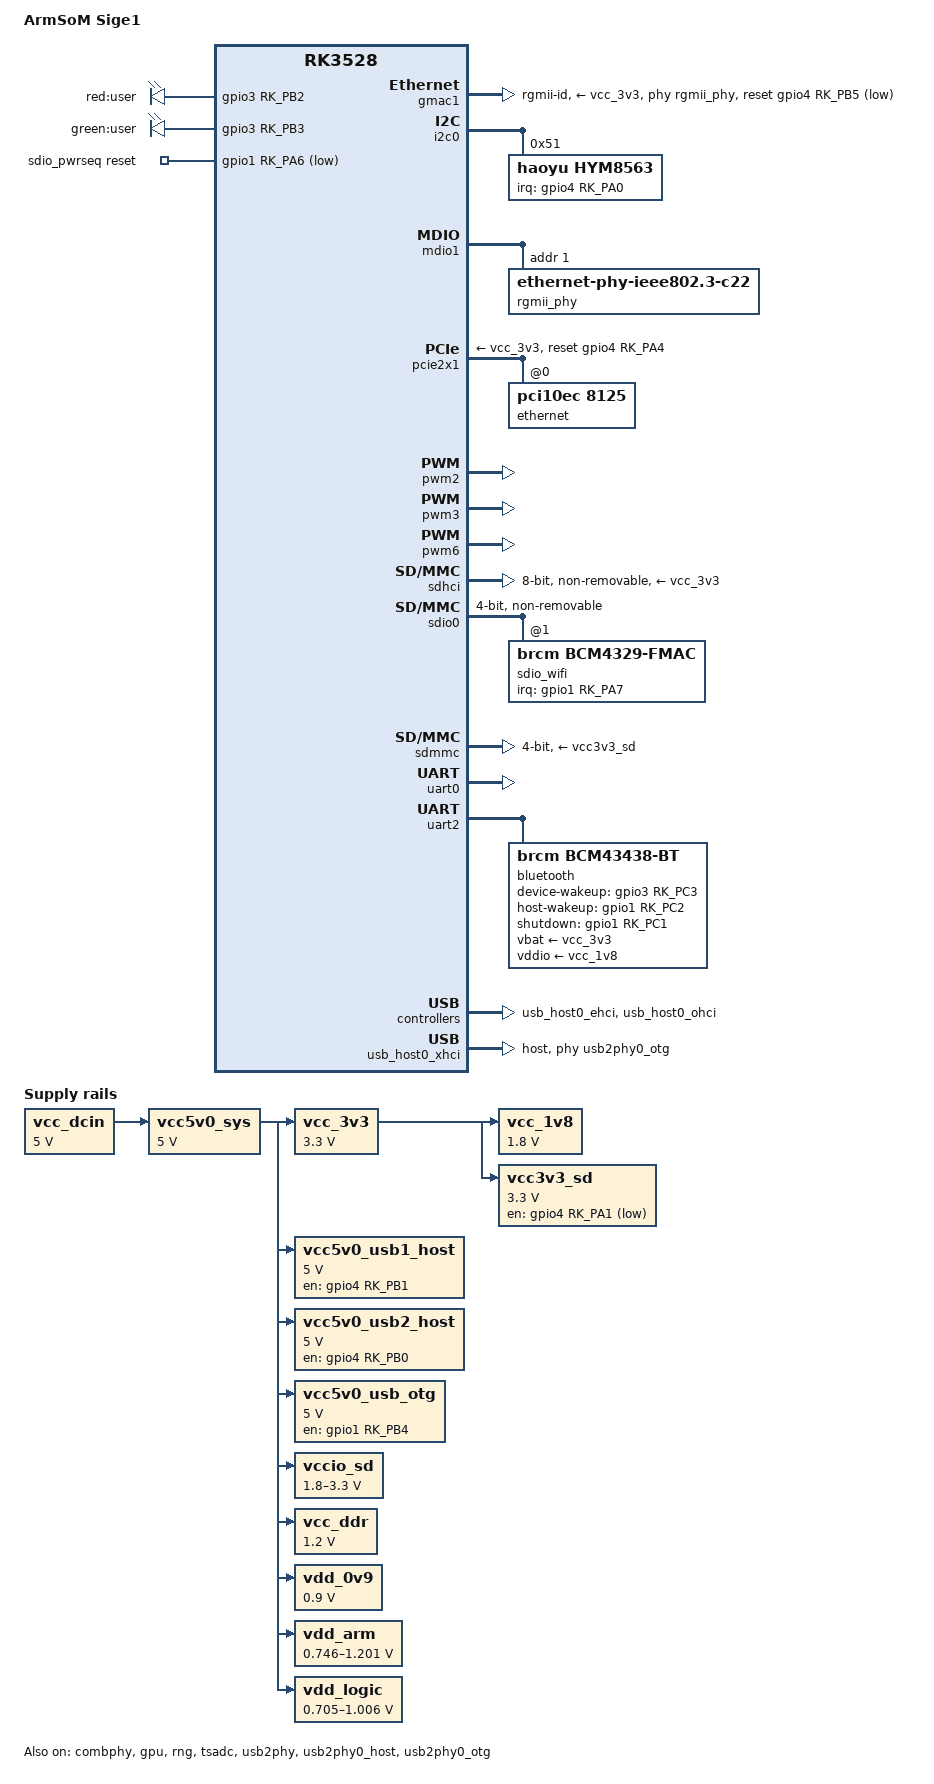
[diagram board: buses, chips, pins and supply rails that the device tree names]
// SPDX-License-Identifier: (GPL-2.0+ OR MIT)
// Copyright (c) 2024 AY <amadeus@jmu.edu.cn>

/dts-v1/;
#include <dt-bindings/gpio/gpio.h>
#include <dt-bindings/pinctrl/rockchip.h>

#include "rk3528.dtsi"

/ {
	model = "ArmSoM Sige1";
	compatible = "armsom,sige1", "rockchip,rk3528";

	aliases {
		mmc0 = &sdhci;
		mmc1 = &sdmmc;
		mmc2 = &sdio0;
		ethernet0 = &gmac1;

		led-boot = &led_red;
		led-failsafe = &led_red;
		led-running = &led_red;
		led-upgrade = &led_red;
	};

	chosen {
		stdout-path = "serial0:1500000n8";
	};

	leds {
		compatible = "gpio-leds";
		pinctrl-names = "default";
		pinctrl-0 = <&user1_led_en>, <&user2_led_en>;

		led_red: user1 {
			label = "red:user";
			gpios = <&gpio3 RK_PB2 GPIO_ACTIVE_HIGH>;
		};

		user2 {
			label = "green:user";
			gpios = <&gpio3 RK_PB3 GPIO_ACTIVE_HIGH>;
		};
	};

	sdio_pwrseq: sdio-pwrseq {
		compatible = "mmc-pwrseq-simple";
		pinctrl-names = "default";
		pinctrl-0 = <&wifi_enable_h &clkm1_32k_out>;
		reset-gpios = <&gpio1 RK_PA6 GPIO_ACTIVE_LOW>;
	};

	vcc_dcin: vcc-dcin {
		compatible = "regulator-fixed";
		regulator-name = "vcc_dcin";
		regulator-always-on;
		regulator-boot-on;
		regulator-min-microvolt = <5000000>;
		regulator-max-microvolt = <5000000>;
	};

	vcc_1v8: vcc-1v8 {
		compatible = "regulator-fixed";
		regulator-name = "vcc_1v8";
		regulator-always-on;
		regulator-boot-on;
		regulator-min-microvolt = <1800000>;
		regulator-max-microvolt = <1800000>;
		vin-supply = <&vcc_3v3>;
	};

	vcc_3v3: vcc-3v3 {
		compatible = "regulator-fixed";
		regulator-name = "vcc_3v3";
		regulator-always-on;
		regulator-boot-on;
		regulator-min-microvolt = <3300000>;
		regulator-max-microvolt = <3300000>;
		vin-supply = <&vcc5v0_sys>;
	};

	vcc3v3_sd: vcc3v3-sd {
		compatible = "regulator-fixed";
		gpio = <&gpio4 RK_PA1 GPIO_ACTIVE_LOW>;
		regulator-name = "vcc3v3_sd";
		regulator-always-on;
		regulator-boot-on;
		regulator-min-microvolt = <3300000>;
		regulator-max-microvolt = <3300000>;
		vin-supply = <&vcc_3v3>;
	};

	vcc5v0_sys: vcc5v0-sys {
		compatible = "regulator-fixed";
		regulator-name = "vcc5v0_sys";
		regulator-always-on;
		regulator-boot-on;
		regulator-min-microvolt = <5000000>;
		regulator-max-microvolt = <5000000>;
		vin-supply = <&vcc_dcin>;
	};

	vcc5v0_usb1_host: vcc5v0-usb1-host {
		compatible = "regulator-fixed";
		enable-active-high;
		gpio = <&gpio4 RK_PB1 GPIO_ACTIVE_HIGH>;
		pinctrl-names = "default";
		pinctrl-0 = <&vcc5v0_usb1_host_en>;
		regulator-name = "vcc5v0_usb1_host";
		regulator-min-microvolt = <5000000>;
		regulator-max-microvolt = <5000000>;
		regulator-always-on;
		vin-supply = <&vcc5v0_sys>;
	};

	vcc5v0_usb2_host: vcc5v0-usb2-host {
		compatible = "regulator-fixed";
		enable-active-high;
		gpio = <&gpio4 RK_PB0 GPIO_ACTIVE_HIGH>;
		pinctrl-names = "default";
		pinctrl-0 = <&vcc5v0_usb2_host_en>;
		regulator-name = "vcc5v0_usb2_host";
		regulator-min-microvolt = <5000000>;
		regulator-max-microvolt = <5000000>;
		regulator-always-on;
		vin-supply = <&vcc5v0_sys>;
	};

	vcc5v0_usb_otg: vcc5v0-usb-otg {
		compatible = "regulator-fixed";
		enable-active-high;
		gpio = <&gpio1 RK_PB4 GPIO_ACTIVE_HIGH>;
		pinctrl-names = "default";
		pinctrl-0 = <&vcc5v0_usb_otg_en>;
		regulator-name = "vcc5v0_usb_otg";
		regulator-min-microvolt = <5000000>;
		regulator-max-microvolt = <5000000>;
		vin-supply = <&vcc5v0_sys>;
	};

	vccio_sd: vccio-sd {
		compatible = "regulator-gpio";
		gpios = <&gpio4 RK_PC2 GPIO_ACTIVE_HIGH>;
		regulator-name = "vccio_sd";
		regulator-min-microvolt = <1800000>;
		regulator-max-microvolt = <3300000>;
		states = <1800000 0x0>, <3300000 0x1>;
		vin-supply = <&vcc5v0_sys>;
	};

	vcc_ddr: vcc-ddr {
		compatible = "regulator-fixed";
		regulator-name = "vcc_ddr";
		regulator-always-on;
		regulator-boot-on;
		regulator-min-microvolt = <1200000>;
		regulator-max-microvolt = <1200000>;
		vin-supply = <&vcc5v0_sys>;
	};

	vdd_0v9: vdd-0v9 {
		compatible = "regulator-fixed";
		regulator-name = "vdd_0v9";
		regulator-always-on;
		regulator-boot-on;
		regulator-min-microvolt = <900000>;
		regulator-max-microvolt = <900000>;
		vin-supply = <&vcc5v0_sys>;
	};

	vdd_arm: vdd-arm {
		compatible = "pwm-regulator";
		pwms = <&pwm3 0 5000 1>;
		pwm-supply = <&vcc5v0_sys>;
		regulator-name = "vdd_arm";
		regulator-always-on;
		regulator-boot-on;
		regulator-min-microvolt = <746000>;
		regulator-max-microvolt = <1201000>;
		regulator-settling-time-up-us = <250>;
	};

	vdd_logic: vdd-logic {
		compatible = "pwm-regulator";
		pwms = <&pwm2 0 5000 1>;
		pwm-supply = <&vcc5v0_sys>;
		regulator-name = "vdd_logic";
		regulator-always-on;
		regulator-boot-on;
		regulator-min-microvolt = <705000>;
		regulator-max-microvolt = <1006000>;
		regulator-settling-time-up-us = <250>;
	};
};

&combphy {
	status = "okay";
};

&cpu0 {
	cpu-supply = <&vdd_arm>;
};

&cpu1 {
	cpu-supply = <&vdd_arm>;
};

&cpu2 {
	cpu-supply = <&vdd_arm>;
};

&cpu3 {
	cpu-supply = <&vdd_arm>;
};

&gmac1 {
	clock_in_out = "output";
	pinctrl-names = "default";
	pinctrl-0 = <&rgmii_miim
		     &rgmii_tx_bus2
		     &rgmii_rx_bus2
		     &rgmii_rgmii_clk
		     &rgmii_rgmii_bus>;
	phy-handle = <&rgmii_phy>;
	phy-mode = "rgmii-id";
	phy-supply = <&vcc_3v3>;
	snps,reset-active-low;
	snps,reset-delays-us = <0 20000 100000>;
	snps,reset-gpio = <&gpio4 RK_PB5 GPIO_ACTIVE_LOW>;
	status = "okay";
};

&gpu {
	mali-supply = <&vdd_logic>;
	status = "okay";
};

&i2c0 {
	status = "okay";

	hym8563: rtc@51 {
		compatible = "haoyu,hym8563";
		reg = <0x51>;
		interrupt-parent = <&gpio4>;
		interrupts = <RK_PA0 IRQ_TYPE_LEVEL_LOW>;
		pinctrl-names = "default";
		pinctrl-0 = <&rtc_int_l>;
	};
};

&mdio1 {
	rgmii_phy: phy@1 {
		compatible = "ethernet-phy-ieee802.3-c22";
		reg = <0x1>;
		realtek,led-data = <0x2c1b>;
	};
};

&pcie2x1 {
	reset-gpios = <&gpio4 RK_PA4 GPIO_ACTIVE_HIGH>;
	vpcie3v3-supply = <&vcc_3v3>;
	status = "okay";

	bridge@0,0 {
		reg = <0x00000000 0 0 0 0>;
		#address-cells = <3>;
		#size-cells = <2>;
		ranges;

		ethernet@0,0 {
			compatible = "pci10ec,8125";
			reg = <0x000000 0 0 0 0>;
			led-data = <0x23f 0x3f 0 0>;
		};
	};
};

&pinctrl {
	leds {
		user1_led_en: user1-led-en {
			rockchip,pins = <3 RK_PB2 RK_FUNC_GPIO &pcfg_pull_none>;
		};

		user2_led_en: user2-led-en {
			rockchip,pins = <3 RK_PB3 RK_FUNC_GPIO &pcfg_pull_none>;
		};
	};

	usb {
		vcc5v0_usb1_host_en: vcc5v0-usb1-host-en {
			rockchip,pins = <4 RK_PB1 RK_FUNC_GPIO &pcfg_pull_none>;
		};

		vcc5v0_usb2_host_en: vcc5v0-usb2-host-en {
			rockchip,pins = <4 RK_PB0 RK_FUNC_GPIO &pcfg_pull_none>;
		};

		vcc5v0_usb_otg_en: vcc5v0-usb-otg-en {
			rockchip,pins = <1 RK_PB4 RK_FUNC_GPIO &pcfg_pull_none>;
		};
	};

	rtc {
		rtc_int_l: rtc-int-l {
			rockchip,pins = <4 RK_PA0 RK_FUNC_GPIO &pcfg_pull_none>;
		};
	};

	wifi {
		wifi_enable_h: wifi-enable-h {
			rockchip,pins = <1 RK_PA6 RK_FUNC_GPIO &pcfg_pull_none>;
		};

		wifi_wake_host_h: wifi-wake-host-h {
			rockchip,pins = <1 RK_PA7 RK_FUNC_GPIO &pcfg_pull_down>;
		};
	};

	bluetooth {
		bt_reg_on_h: bt-reg-on-h {
			rockchip,pins = <1 RK_PC1 RK_FUNC_GPIO &pcfg_pull_down>;
		};

		bt_host_wake_h: bt-host-wake-h {
			rockchip,pins = <1 RK_PC2 RK_FUNC_GPIO &pcfg_pull_down>;
		};

		host_wake_bt_h: host-wake-bt-h {
			rockchip,pins = <3 RK_PC3 RK_FUNC_GPIO &pcfg_pull_none>;
		};
	};
};

&pwm2 {
	status = "okay";
};

&pwm3 {
	status = "okay";
};

&pwm6 {
	pinctrl-0 = <&pwm6m2_pins>;
	status = "okay";
};

&rng {
	status = "okay";
};

&sdhci {
	bus-width = <8>;
	mmc-hs200-1_8v;
	max-frequency = <200000000>;
	non-removable;
	pinctrl-names = "default";
	pinctrl-0 = <&emmc_bus8 &emmc_clk &emmc_cmd &emmc_strb>;
	vmmc-supply = <&vcc_3v3>;
	vqmmc-supply = <&vcc_1v8>;
	status = "okay";
};

&sdio0 {
	#address-cells = <1>;
	#size-cells = <0>;
	bus-width = <4>;
	cap-sd-highspeed;
	cap-sdio-irq;
	keep-power-in-suspend;
	max-frequency = <200000000>;
	mmc-pwrseq = <&sdio_pwrseq>;
	pinctrl-names = "default";
	pinctrl-0 = <&sdio0_bus4 &sdio0_cmd &sdio0_clk>;
	post-power-on-delay-ms = <50>;
	non-removable;
	sd-uhs-sdr104;
	status = "okay";

	sdio_wifi@1 {
		compatible = "brcm,bcm4329-fmac";
		reg = <1>;
		interrupt-parent = <&gpio1>;
		interrupts = <RK_PA7 IRQ_TYPE_LEVEL_HIGH>;
		interrupt-names = "host-wake";
		pinctrl-names = "default";
		pinctrl-0 = <&wifi_wake_host_h>;
	};
};

&sdmmc {
	bus-width = <4>;
	cap-sd-highspeed;
	disable-wp;
	max-frequency = <150000000>;
	pinctrl-names = "default";
	pinctrl-0 = <&sdmmc_bus4 &sdmmc_clk &sdmmc_cmd &sdmmc_det>;
	rockchip,default-sample-phase = <90>;
	sd-uhs-sdr12;
	sd-uhs-sdr25;
	sd-uhs-sdr50;
	sd-uhs-sdr104;
	vmmc-supply = <&vcc3v3_sd>;
	vqmmc-supply = <&vccio_sd>;
	status = "okay";
};

&tsadc {
	status = "okay";
};

&uart0 {
	pinctrl-names = "default";
	pinctrl-0 = <&uart0m0_xfer>;
	status = "okay";
};

&uart2 {
	pinctrl-names = "default";
	pinctrl-0 = <&uart2m1_ctsn &uart2m1_xfer &uart2m1_rtsn>;
	uart-has-rtscts;
	status = "okay";

	bluetooth {
		compatible = "brcm,bcm43438-bt";
		device-wakeup-gpios = <&gpio3 RK_PC3 GPIO_ACTIVE_HIGH>;
		host-wakeup-gpios = <&gpio1 RK_PC2 GPIO_ACTIVE_HIGH>;
		shutdown-gpios = <&gpio1 RK_PC1 GPIO_ACTIVE_HIGH>;
		pinctrl-names = "default";
		pinctrl-0 = <&bt_reg_on_h &bt_host_wake_h &host_wake_bt_h>;
		vbat-supply = <&vcc_3v3>;
		vddio-supply = <&vcc_1v8>;
	};
};

&usb2phy {
	status = "okay";
};

/* actually fed by vcc5v0_usb1_host
 * and vcc5v0_usb2_host
 */
&usb2phy0_host {
	phy-supply = <&vcc5v0_sys>;
	status = "okay";
};

&usb2phy0_otg {
	phy-supply = <&vcc5v0_usb_otg>;
	status = "okay";
};

&usb_host0_ehci {
	status = "okay";
};

&usb_host0_ohci {
	status = "okay";
};

&usb_host0_xhci {
	dr_mode = "host";
	maximum-speed = "high-speed";
	phys = <&usb2phy0_otg>;
	phy-names = "usb2-phy";
	status = "okay";
};
